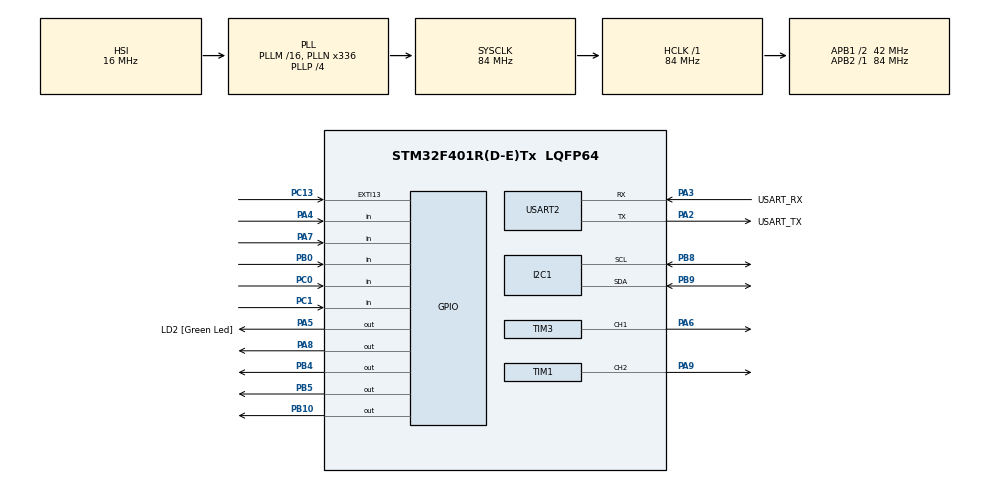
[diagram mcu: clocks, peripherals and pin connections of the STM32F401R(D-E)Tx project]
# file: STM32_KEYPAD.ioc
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Mcu.Family=STM32F4
Mcu.Name=STM32F401R(D-E)Tx
Mcu.Package=LQFP64
NVIC.PriorityGroup=NVIC_PRIORITYGROUP_4
PA13.GPIO_Label=TMS
PA13.Mode=Trace_Asynchronous_SW
PA13.Signal=SYS_JTMS-SWDIO
PA14.GPIO_Label=TCK
PA14.Mode=Trace_Asynchronous_SW
PA14.Signal=SYS_JTCK-SWCLK
PA2.GPIO_Label=USART_TX
PA2.GPIO_Mode=GPIO_MODE_AF_PP
PA2.GPIO_PuPd=GPIO_NOPULL
PA2.GPIO_Speed=GPIO_SPEED_FREQ_LOW
PA2.Mode=Asynchronous
PA2.Signal=USART2_TX
PA3.GPIO_Label=USART_RX
PA3.GPIO_Mode=GPIO_MODE_AF_PP
PA3.GPIO_PuPd=GPIO_NOPULL
PA3.GPIO_Speed=GPIO_SPEED_FREQ_LOW
PA3.Mode=Asynchronous
PA3.Signal=USART2_RX
PA4.GPIO_PuPd=GPIO_PULLUP
PA4.Signal=GPIO_Input
PA5.GPIO_Label=LD2 [Green Led]
PA5.GPIO_Mode=GPIO_MODE_OUTPUT_PP
PA5.GPIO_PuPd=GPIO_NOPULL
PA5.GPIO_Speed=GPIO_SPEED_FREQ_LOW
PA5.Signal=GPIO_Output
PA6.Signal=S_TIM3_CH1
PA7.GPIO_PuPd=GPIO_PULLUP
PA7.Signal=GPIO_Input
PA8.Signal=GPIO_Output
PA9.Signal=S_TIM1_CH2
PB0.GPIO_PuPd=GPIO_PULLUP
PB0.Signal=GPIO_Input
PB10.Signal=GPIO_Output
PB3.GPIO_Label=SWO
PB3.Mode=Trace_Asynchronous_SW
PB3.Signal=SYS_JTDO-SWO
PB4.Signal=GPIO_Output
PB5.Signal=GPIO_Output
PB8.Mode=I2C
PB8.Signal=I2C1_SCL
PB9.Mode=I2C
PB9.Signal=I2C1_SDA
PC0.GPIO_PuPd=GPIO_PULLUP
PC0.Signal=GPIO_Input
PC1.GPIO_PuPd=GPIO_PULLUP
PC1.Signal=GPIO_Input
PC13-ANTI_TAMP.Signal=GPXTI13
PC14-OSC32_IN.Mode=LSE-External-Oscillator
PC14-OSC32_IN.Signal=RCC_OSC32_IN
PC15-OSC32_OUT.Mode=LSE-External-Oscillator
PC15-OSC32_OUT.Signal=RCC_OSC32_OUT
PH0\ -\ OSC_IN.Mode=HSE-External-Clock-Source
PH0\ -\ OSC_IN.Signal=RCC_OSC_IN
PH1\ -\ OSC_OUT.Mode=HSE-External-Clock-Source
PH1\ -\ OSC_OUT.Signal=RCC_OSC_OUT
ProjectManager.HeapSize=0x200
ProjectManager.StackSize=0x400
ProjectManager.TargetToolchain=STM32CubeIDE
RCC.48MHZClocksFreq_Value=48000000
RCC.AHBFreq_Value=84000000
RCC.APB1CLKDivider=RCC_HCLK_DIV2
RCC.APB1Freq_Value=42000000
RCC.APB1TimFreq_Value=84000000
RCC.APB2Freq_Value=84000000
RCC.APB2TimFreq_Value=84000000
RCC.CortexFreq_Value=84000000
RCC.HCLKFreq_Value=84000000
RCC.HSE_VALUE=8000000
RCC.HSI_VALUE=16000000
RCC.PLLN=336
RCC.PLLP=RCC_PLLP_DIV4
RCC.PLLQ=7
RCC.SYSCLKFreq_VALUE=84000000
RCC.SYSCLKSource=RCC_SYSCLKSOURCE_PLLCLK
RCC.VCOOutputFreq_Value=336000000
SH.S_TIM1_CH2.0=TIM1_CH2,PWM Generation2 CH2
SH.S_TIM3_CH1.0=TIM3_CH1,PWM Generation1 CH1
TIM1.Channel-PWM\ Generation2\ CH2=TIM_CHANNEL_2
TIM1.Period=20000-1
TIM1.Prescaler=84-1
TIM1.Pulse-PWM\ Generation2\ CH2=1500
TIM3.Channel-PWM\ Generation1\ CH1=TIM_CHANNEL_1
TIM3.Period=500-1
TIM3.Prescaler=84-1
TIM3.Pulse-PWM\ Generation1\ CH1=250
USART2.VirtualMode=VM_ASYNC
board=NUCLEO-F401RE

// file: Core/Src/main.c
/* USER CODE BEGIN Header */
/**
  ******************************************************************************
  * @file           : main.c
  * @brief          : Main program body
  ******************************************************************************
  * @attention
  *
  * Copyright (c) 2025 STMicroelectronics.
  * All rights reserved.
  *
  * This software is licensed under terms that can be found in the LICENSE file
  * in the root directory of this software component.
  * If no LICENSE file comes with this software, it is provided AS-IS.
  *
  ******************************************************************************
  */
/* USER CODE END Header */
#include "main.h"

/* USER CODE BEGIN Includes */
#include <string.h>
#include <stdint.h>
#include "stm32f4xx_hal_tim.h"

void handle_button_press(void); //toggles PA5 and sends button press message
void send_uart_message(char *msg);
void toggle_led(void);

/* USER CODE END Includes */

/* USER CODE BEGIN PTD */

#define SH1107_ADDR 0x3C //OLED I2C Address
#define MAX_PASS_LENGTH 8

/* USER CODE END PTD */

I2C_HandleTypeDef hi2c1;

TIM_HandleTypeDef htim1;
TIM_HandleTypeDef htim3;

UART_HandleTypeDef huart2;

void SystemClock_Config(void);
static void MX_GPIO_Init(void);
static void MX_USART2_UART_Init(void);
static void MX_TIM3_Init(void);
static void MX_I2C1_Init(void);
static void MX_TIM1_Init(void);

/* USER CODE BEGIN 0 */
void toggle_led(void) { //Activate/Toggle LED
    HAL_GPIO_TogglePin(GPIOA, GPIO_PIN_5);
}

void send_uart_message(char *msg) { //Send Message through UART
    HAL_UART_Transmit(&huart2, (uint8_t *)msg, strlen(msg), HAL_MAX_DELAY);
}

void handle_button_press(void) { //Button Press actions
    toggle_led();
    HAL_Delay(200); // debounce
}

/* Buzzer PWM Functions */
void buzzer_on(void) {
	__HAL_TIM_SET_COMPARE(&htim3, TIM_CHANNEL_1, 250); //Duty Cycle - 50%
}

void buzzer_off(void) {
	__HAL_TIM_SET_COMPARE(&htim3, TIM_CHANNEL_1, 0); //Duty Cycle - 0% (off)
}

/* OLED Command Functions */
// Function to send a command to the OLED
void SH1107_Write_Command(uint8_t cmd) {
    uint8_t buffer[2] = {0x00, cmd}; // 0x00 = command
    HAL_I2C_Master_Transmit(&hi2c1, SH1107_ADDR << 1, buffer, 2, HAL_MAX_DELAY);
}

void SH1107_Write_Data(uint8_t data) {
    uint8_t buffer[2] = {0x40, data}; // 0x40 = data
    HAL_I2C_Master_Transmit(&hi2c1, SH1107_ADDR << 1, buffer, 2, HAL_MAX_DELAY);
}

void SH1107_Init(void) {
    HAL_Delay(100);

    SH1107_Write_Command(0xAE); // Display OFF
    SH1107_Write_Command(0xDC); // Set display start line
    SH1107_Write_Command(0x00);
    SH1107_Write_Command(0x81); // Set contrast control
    SH1107_Write_Command(0x2F);
    SH1107_Write_Command(0x20); // Set memory addressing mode
    SH1107_Write_Command(0xA0); // Segment remap
    SH1107_Write_Command(0xC0); // COM scan direction normal
    SH1107_Write_Command(0xA8); // Set multiplex ratio
    SH1107_Write_Command(0x7F); // 128MUX
    SH1107_Write_Command(0xD3); // Display offset
    SH1107_Write_Command(0x60); // Suggested for 128x128
    SH1107_Write_Command(0xD5); // Display clock divide
    SH1107_Write_Command(0x50);
    SH1107_Write_Command(0xD9); // Set pre-charge
    SH1107_Write_Command(0x22);
    SH1107_Write_Command(0xDB); // Set VCOMH Deselect Level
    SH1107_Write_Command(0x35);
    SH1107_Write_Command(0xAD); // Charge Pump
    SH1107_Write_Command(0x8A);
    SH1107_Write_Command(0xAF); // Display ON
}

void SH1107_Clear(void) {
    for (int page = 0; page < 8; page++) {
        SH1107_Write_Command(0xB0 + page); // Page address
        SH1107_Write_Command(0x00);        // Lower column start
        SH1107_Write_Command(0x10);        // Upper column start
        for (int col = 0; col < 128; col++) {
            SH1107_Write_Data(0x00);       // Blank
        }
    }
}

const uint8_t font5x7[][5] = {
    // SPACE (ASCII 32)
    [0] = {0x00, 0x00, 0x00, 0x00, 0x00}, // ' '
    ['!' - 32] = {0x00, 0x00, 0x5F, 0x00, 0x00}, // !
    ['"' - 32] = {0x00, 0x07, 0x00, 0x07, 0x00}, // "
    ['#' - 32] = {0x14, 0x7F, 0x14, 0x7F, 0x14}, // #
    ['$' - 32] = {0x24, 0x2A, 0x7F, 0x2A, 0x12}, // $
    ['%' - 32] = {0x23, 0x13, 0x08, 0x64, 0x62}, // %
    ['&' - 32] = {0x36, 0x49, 0x55, 0x22, 0x50}, // &
    ['\'' - 32] = {0x00, 0x05, 0x03, 0x00, 0x00}, // '
    ['(' - 32] = {0x00, 0x1C, 0x22, 0x41, 0x00}, // (
    [')' - 32] = {0x00, 0x41, 0x22, 0x1C, 0x00}, // )
    ['*' - 32] = {0x14, 0x08, 0x3E, 0x08, 0x14}, // *
    ['+' - 32] = {0x08, 0x08, 0x3E, 0x08, 0x08}, // +
    [',' - 32] = {0x00, 0x50, 0x30, 0x00, 0x00}, // ,
    ['-' - 32] = {0x08, 0x08, 0x08, 0x08, 0x08}, // -
    ['.' - 32] = {0x00, 0x60, 0x60, 0x00, 0x00}, // .
    ['/' - 32] = {0x20, 0x10, 0x08, 0x04, 0x02}, // /

    // A–Z
    ['A' - 32] = {0x7E, 0x11, 0x11, 0x11, 0x7E},
    ['B' - 32] = {0x7F, 0x49, 0x49, 0x49, 0x36},
    ['C' - 32] = {0x3E, 0x41, 0x41, 0x41, 0x22},
    ['D' - 32] = {0x7F, 0x41, 0x41, 0x22, 0x1C},
    ['E' - 32] = {0x7F, 0x49, 0x49, 0x49, 0x41},
    ['F' - 32] = {0x7F, 0x09, 0x09, 0x09, 0x01},
    ['G' - 32] = {0x3E, 0x41, 0x49, 0x49, 0x7A},
    ['H' - 32] = {0x7F, 0x08, 0x08, 0x08, 0x7F},
    ['I' - 32] = {0x00, 0x41, 0x7F, 0x41, 0x00},
    ['J' - 32] = {0x20, 0x40, 0x41, 0x3F, 0x01},
    ['K' - 32] = {0x7F, 0x08, 0x14, 0x22, 0x41},
    ['L' - 32] = {0x7F, 0x40, 0x40, 0x40, 0x40},
    ['M' - 32] = {0x7F, 0x02, 0x0C, 0x02, 0x7F},
    ['N' - 32] = {0x7F, 0x04, 0x08, 0x10, 0x7F},
    ['O' - 32] = {0x3E, 0x41, 0x41, 0x41, 0x3E},
    ['P' - 32] = {0x7F, 0x09, 0x09, 0x09, 0x06},
    ['Q' - 32] = {0x3E, 0x41, 0x51, 0x21, 0x5E},
    ['R' - 32] = {0x7F, 0x09, 0x19, 0x29, 0x46},
    ['S' - 32] = {0x46, 0x49, 0x49, 0x49, 0x31},
    ['T' - 32] = {0x01, 0x01, 0x7F, 0x01, 0x01},
    ['U' - 32] = {0x3F, 0x40, 0x40, 0x40, 0x3F},
    ['V' - 32] = {0x1F, 0x20, 0x40, 0x20, 0x1F},
    ['W' - 32] = {0x7F, 0x20, 0x18, 0x20, 0x7F},
    ['X' - 32] = {0x63, 0x14, 0x08, 0x14, 0x63},
    ['Y' - 32] = {0x07, 0x08, 0x70, 0x08, 0x07},
    ['Z' - 32] = {0x61, 0x51, 0x49, 0x45, 0x43},
};

void SH1107_Set_Cursor(uint8_t page, uint8_t col) {
    SH1107_Write_Command(0xB0 + page);             // Set page address
    SH1107_Write_Command(col & 0x0F);              // Set lower column address
    SH1107_Write_Command(0x10 | (col >> 4));       // Set higher column address
}

void SH1107_Write_Char(char c) {
    if (c < 32 || c > 126) c = ' '; // fallback to space
    const uint8_t *bitmap = font5x7[c - 32];
    for (int i = 0; i < 5; i++) {
        SH1107_Write_Data(bitmap[i]);
    }
    SH1107_Write_Data(0x00); // Space between characters
}

void SH1107_Write_String(const char* str) {
    while (*str) {
        SH1107_Write_Char(*str++);
    }
}

void SH1107_Unlock_Animation(void) {
    for (int page = 0; page < 8; page++) {  // SH1107 usually has 8 pages (each 8px tall)
        SH1107_Set_Cursor(0, page);
        for (int col = 0; col < 128; col++) {
            SH1107_Write_Data(0xFF);  // Fill this line
            HAL_Delay(1);             // Delay for visual effect
        }
    }
    HAL_Delay(500);
    SH1107_Clear();
}

uint32_t  buttonCount = 0;

/* Servo Functions*/
void servo_set_angle(uint8_t angle) {
	 if (angle > 180) angle = 180;
	 uint16_t pulse = ((angle * 1000) / 180) + 1000;  // maps 0–180° to 1000–2000
	 __HAL_TIM_SET_COMPARE(&htim1, TIM_CHANNEL_2, pulse);
}

/* Keypad Functions */

char password[MAX_PASS_LENGTH + 1] = "1234#";  // Example password
char input[MAX_PASS_LENGTH + 1] = {0};
uint8_t input_index = 0;
uint8_t failed_entry = 0;

void keypad_password() {
    GPIO_TypeDef* row_ports[4] = {GPIOA, GPIOB, GPIOB, GPIOB};
    uint16_t row_pins[4] = {GPIO_PIN_8, GPIO_PIN_10, GPIO_PIN_4, GPIO_PIN_5};

    GPIO_TypeDef* col_ports[4] = {GPIOA, GPIOB, GPIOC, GPIOC};
    uint16_t col_pins[4] = {GPIO_PIN_4, GPIO_PIN_0, GPIO_PIN_1, GPIO_PIN_0};

    const char keypad_map[4][4] = {
        {'1', '2', '3', 'A'},
        {'4', '5', '6', 'B'},
        {'7', '8', '9', 'C'},
        {'*', '0', '#', 'D'}
    };

 //   char msg[32];

    for (int r = 0; r < 4; r++) {
        // Set all rows HIGH
        for (int i = 0; i < 4; i++) {
            HAL_GPIO_WritePin(row_ports[i], row_pins[i], GPIO_PIN_SET);
        }

        // Set current row LOW
        HAL_GPIO_WritePin(row_ports[r], row_pins[r], GPIO_PIN_RESET);
        HAL_Delay(1);  // debounce

        // Check each column
        for (int c = 0; c < 4; c++) {
            if (HAL_GPIO_ReadPin(col_ports[c], col_pins[c]) == GPIO_PIN_RESET) {
                char key = keypad_map[r][c];

                // Debounce
                while (HAL_GPIO_ReadPin(col_ports[c], col_pins[c]) == GPIO_PIN_RESET);
                HAL_Delay(100);

                // Beep
                buzzer_on();
                HAL_Delay(100);
                buzzer_off();

                // Save Key
                if (input_index <MAX_PASS_LENGTH) {
                	input[input_index++] = key;
                	input[input_index] = '\0'; //Null-terminate
                }

                // OLED Display
                SH1107_Clear();
                SH1107_Set_Cursor(0,0);
                for (uint8_t i = 0; i < input_index; i++) {
                	SH1107_Write_Char('*');
                }

                // Check if full length entered
                if (input_index == strlen(password)) {
                    if (strcmp(input, password) == 0) {
                    	SH1107_Clear();
                        SH1107_Set_Cursor(0, 0);
                        SH1107_Write_String("UNLOCKED!");
                        send_uart_message("Correct password!\r\n");
                        servo_set_angle(90);  // Open
                        failed_entry = 0;
                        for(int i = 0; i < 5; i++) { // Five Beeps for successful entry
                        	buzzer_on();
                        	HAL_Delay(100);
                        	buzzer_off();
                        	HAL_Delay(100);
                        }
                    } else {
                    	SH1107_Clear();
                    	SH1107_Set_Cursor(0, 0);
                    	SH1107_Write_String("ACCESS DENIED");
                    	send_uart_message("Wrong password!\r\n");
                    	servo_set_angle(180);  // Lock
                    	failed_entry++;
                    	for(int i = 0; i < 2; i++){
                    		buzzer_on();
                    		HAL_Delay(100);
                    		buzzer_off();
                    		HAL_Delay(100);
                    	}
                    }

                    // Reset input
                    memset(input, 0, sizeof(input));
                    input_index = 0;

                    HAL_Delay(1000);
                    SH1107_Clear();
                }

                if (failed_entry >= 3) {
                	SH1107_Clear();
                	SH1107_Set_Cursor(0, 0);
                	SH1107_Write_String("LOCKED OUT");
                	send_uart_message("LOCKED OUT FOR TOO MANY FAILED ENTRIES!\r\n");
                	for(int i = 0; i < 10; i++){
                		buzzer_on();
                		HAL_Delay(300);
                		buzzer_off();
                		HAL_Delay(300);
                	}
                	failed_entry = 0;
                }

                return;
            }
        }
    }
}

/* USER CODE END 0 */

int main(void)
{

  /* MCU Configuration--------------------------------------------------------*/

  /* Reset of all peripherals, Initializes the Flash interface and the Systick. */
  HAL_Init();

  /* Configure the system clock */
  SystemClock_Config();

  /* Initialize all configured peripherals */
  MX_GPIO_Init();
  MX_USART2_UART_Init();
  MX_TIM3_Init();
  MX_I2C1_Init();
  MX_TIM1_Init();
  /* USER CODE BEGIN 2 */
  HAL_TIM_PWM_Start(&htim3, TIM_CHANNEL_1); // Start PWM TIM3_CH1
  HAL_TIM_PWM_Start(&htim1, TIM_CHANNEL_2); // Start PWM TIM1_CH2

/*  for (uint8_t addr = 0x3C; addr <= 0x3F; addr++) {
      if (HAL_I2C_IsDeviceReady(&hi2c1, addr << 1, 3, 100) == HAL_OK) {
          char buf[32];
          sprintf(buf, "I2C device found at 0x%02X\r\n", addr);
          send_uart_message(buf);
      } else {
          char buf[32];
          sprintf(buf, "No device at 0x%02X\r\n", addr);
          send_uart_message(buf);
      }
  } */

  SH1107_Init();
  SH1107_Clear();

  // Fill first page with solid pixels
/*  for (uint8_t page = 0; page < 8; page++) {
      SH1107_Write_Command(0xB0 + page); // Set page address
      SH1107_Write_Command(0x02);        // Set lower column address
      SH1107_Write_Command(0x10);        // Set higher column address

      for (uint8_t col = 0; col < 128; col++) {
          SH1107_Write_Data(0xFF);       // White pixels
      }
  }*/

  /* USER CODE END 2 */

  /* Infinite loop */
  /* USER CODE BEGIN WHILE */
  while (1)
  {

	  keypad_password();
	  	  /* Toggle LED Pin if button is pressed  */
	  if(HAL_GPIO_ReadPin(GPIOC, GPIO_PIN_13) == GPIO_PIN_RESET) {
		  handle_button_press();
		  servo_set_angle(0);    // Far left
		  SH1107_Clear();
		  SH1107_Set_Cursor(0, 0); //page 0 column 0
		  buttonCount++;
		  if(buttonCount >= 5 && buttonCount < 8) {
			  SH1107_Unlock_Animation();
			  SH1107_Set_Cursor(0, 0);
			  send_uart_message("FIVES!\r\n");
			  servo_set_angle(90);   // Center
			  for(int i = 0; i < 5; i++) {
				  buzzer_on();
				  HAL_Delay(100);
				  buzzer_off();
				  HAL_Delay(100);
				  servo_set_angle(20);
				  HAL_Delay(100);
			  }
		  } else {
			  buzzer_on();
			  HAL_Delay(100);
			  buzzer_off();
			  send_uart_message("BUTTON!\r\n");
			  servo_set_angle(180);  // Far right

		  }

	  } else {
		  HAL_GPIO_WritePin(GPIOA, GPIO_PIN_5, GPIO_PIN_RESET);
		  buzzer_off();
	  }

	  if(buttonCount >= 8) {buttonCount = 0;}

	 // check_keypad_and_beep();
	 // HAL_Delay(50);

    /* USER CODE END WHILE */

  }
}

void SystemClock_Config(void)
{
  RCC_OscInitTypeDef RCC_OscInitStruct = {0};
  RCC_ClkInitTypeDef RCC_ClkInitStruct = {0};

  /** Configure the main internal regulator output voltage
  */
  __HAL_RCC_PWR_CLK_ENABLE();
  __HAL_PWR_VOLTAGESCALING_CONFIG(PWR_REGULATOR_VOLTAGE_SCALE2);

  /** Initializes the RCC Oscillators according to the specified parameters
  * in the RCC_OscInitTypeDef structure.
  */
  RCC_OscInitStruct.OscillatorType = RCC_OSCILLATORTYPE_HSI;
  RCC_OscInitStruct.HSIState = RCC_HSI_ON;
  RCC_OscInitStruct.HSICalibrationValue = RCC_HSICALIBRATION_DEFAULT;
  RCC_OscInitStruct.PLL.PLLState = RCC_PLL_ON;
  RCC_OscInitStruct.PLL.PLLSource = RCC_PLLSOURCE_HSI;
  RCC_OscInitStruct.PLL.PLLM = 16;
  RCC_OscInitStruct.PLL.PLLN = 336;
  RCC_OscInitStruct.PLL.PLLP = RCC_PLLP_DIV4;
  RCC_OscInitStruct.PLL.PLLQ = 7;
  if (HAL_RCC_OscConfig(&RCC_OscInitStruct) != HAL_OK)
  {
    Error_Handler();
  }

  /** Initializes the CPU, AHB and APB buses clocks
  */
  RCC_ClkInitStruct.ClockType = RCC_CLOCKTYPE_HCLK|RCC_CLOCKTYPE_SYSCLK
                              |RCC_CLOCKTYPE_PCLK1|RCC_CLOCKTYPE_PCLK2;
  RCC_ClkInitStruct.SYSCLKSource = RCC_SYSCLKSOURCE_PLLCLK;
  RCC_ClkInitStruct.AHBCLKDivider = RCC_SYSCLK_DIV1;
  RCC_ClkInitStruct.APB1CLKDivider = RCC_HCLK_DIV2;
  RCC_ClkInitStruct.APB2CLKDivider = RCC_HCLK_DIV1;

  if (HAL_RCC_ClockConfig(&RCC_ClkInitStruct, FLASH_LATENCY_2) != HAL_OK)
  {
    Error_Handler();
  }
}

static void MX_I2C1_Init(void)
{

  hi2c1.Instance = I2C1;
  hi2c1.Init.ClockSpeed = 100000;
  hi2c1.Init.DutyCycle = I2C_DUTYCYCLE_2;
  hi2c1.Init.OwnAddress1 = 0;
  hi2c1.Init.AddressingMode = I2C_ADDRESSINGMODE_7BIT;
  hi2c1.Init.DualAddressMode = I2C_DUALADDRESS_DISABLE;
  hi2c1.Init.OwnAddress2 = 0;
  hi2c1.Init.GeneralCallMode = I2C_GENERALCALL_DISABLE;
  hi2c1.Init.NoStretchMode = I2C_NOSTRETCH_DISABLE;
  if (HAL_I2C_Init(&hi2c1) != HAL_OK)
  {
    Error_Handler();
  }

}

static void MX_TIM1_Init(void)
{

  TIM_MasterConfigTypeDef sMasterConfig = {0};
  TIM_OC_InitTypeDef sConfigOC = {0};
  TIM_BreakDeadTimeConfigTypeDef sBreakDeadTimeConfig = {0};

  htim1.Instance = TIM1;
  htim1.Init.Prescaler = 84-1;
  htim1.Init.CounterMode = TIM_COUNTERMODE_UP;
  htim1.Init.Period = 20000-1;
  htim1.Init.ClockDivision = TIM_CLOCKDIVISION_DIV1;
  htim1.Init.RepetitionCounter = 0;
  htim1.Init.AutoReloadPreload = TIM_AUTORELOAD_PRELOAD_DISABLE;
  if (HAL_TIM_PWM_Init(&htim1) != HAL_OK)
  {
    Error_Handler();
  }
  sMasterConfig.MasterOutputTrigger = TIM_TRGO_RESET;
  sMasterConfig.MasterSlaveMode = TIM_MASTERSLAVEMODE_DISABLE;
  if (HAL_TIMEx_MasterConfigSynchronization(&htim1, &sMasterConfig) != HAL_OK)
  {
    Error_Handler();
  }
  sConfigOC.OCMode = TIM_OCMODE_PWM1;
  sConfigOC.Pulse = 1500;
  sConfigOC.OCPolarity = TIM_OCPOLARITY_HIGH;
  sConfigOC.OCNPolarity = TIM_OCNPOLARITY_HIGH;
  sConfigOC.OCFastMode = TIM_OCFAST_DISABLE;
  sConfigOC.OCIdleState = TIM_OCIDLESTATE_RESET;
  sConfigOC.OCNIdleState = TIM_OCNIDLESTATE_RESET;
  if (HAL_TIM_PWM_ConfigChannel(&htim1, &sConfigOC, TIM_CHANNEL_2) != HAL_OK)
  {
    Error_Handler();
  }
  sBreakDeadTimeConfig.OffStateRunMode = TIM_OSSR_DISABLE;
  sBreakDeadTimeConfig.OffStateIDLEMode = TIM_OSSI_DISABLE;
  sBreakDeadTimeConfig.LockLevel = TIM_LOCKLEVEL_OFF;
  sBreakDeadTimeConfig.DeadTime = 0;
  sBreakDeadTimeConfig.BreakState = TIM_BREAK_DISABLE;
  sBreakDeadTimeConfig.BreakPolarity = TIM_BREAKPOLARITY_HIGH;
  sBreakDeadTimeConfig.AutomaticOutput = TIM_AUTOMATICOUTPUT_DISABLE;
  if (HAL_TIMEx_ConfigBreakDeadTime(&htim1, &sBreakDeadTimeConfig) != HAL_OK)
  {
    Error_Handler();
  }
  HAL_TIM_MspPostInit(&htim1);

}

static void MX_TIM3_Init(void)
{

  TIM_MasterConfigTypeDef sMasterConfig = {0};
  TIM_OC_InitTypeDef sConfigOC = {0};

  htim3.Instance = TIM3;
  htim3.Init.Prescaler = 84-1;
  htim3.Init.CounterMode = TIM_COUNTERMODE_UP;
  htim3.Init.Period = 500-1;
  htim3.Init.ClockDivision = TIM_CLOCKDIVISION_DIV1;
  htim3.Init.AutoReloadPreload = TIM_AUTORELOAD_PRELOAD_DISABLE;
  if (HAL_TIM_PWM_Init(&htim3) != HAL_OK)
  {
    Error_Handler();
  }
  sMasterConfig.MasterOutputTrigger = TIM_TRGO_RESET;
  sMasterConfig.MasterSlaveMode = TIM_MASTERSLAVEMODE_DISABLE;
  if (HAL_TIMEx_MasterConfigSynchronization(&htim3, &sMasterConfig) != HAL_OK)
  {
    Error_Handler();
  }
  sConfigOC.OCMode = TIM_OCMODE_PWM1;
  sConfigOC.Pulse = 250;
  sConfigOC.OCPolarity = TIM_OCPOLARITY_HIGH;
  sConfigOC.OCFastMode = TIM_OCFAST_DISABLE;
  if (HAL_TIM_PWM_ConfigChannel(&htim3, &sConfigOC, TIM_CHANNEL_1) != HAL_OK)
  {
    Error_Handler();
  }
  HAL_TIM_MspPostInit(&htim3);

}

static void MX_USART2_UART_Init(void)
{

  huart2.Instance = USART2;
  huart2.Init.BaudRate = 115200;
  huart2.Init.WordLength = UART_WORDLENGTH_8B;
  huart2.Init.StopBits = UART_STOPBITS_1;
  huart2.Init.Parity = UART_PARITY_NONE;
  huart2.Init.Mode = UART_MODE_TX_RX;
  huart2.Init.HwFlowCtl = UART_HWCONTROL_NONE;
  huart2.Init.OverSampling = UART_OVERSAMPLING_16;
  if (HAL_UART_Init(&huart2) != HAL_OK)
  {
    Error_Handler();
  }

}

static void MX_GPIO_Init(void)
{
  GPIO_InitTypeDef GPIO_InitStruct = {0};

  /* GPIO Ports Clock Enable */
  __HAL_RCC_GPIOC_CLK_ENABLE();
  __HAL_RCC_GPIOH_CLK_ENABLE();
  __HAL_RCC_GPIOA_CLK_ENABLE();
  __HAL_RCC_GPIOB_CLK_ENABLE();

  /*Configure GPIO pin Output Level */
  HAL_GPIO_WritePin(GPIOA, LD2_Pin|GPIO_PIN_8, GPIO_PIN_RESET);

  /*Configure GPIO pin Output Level */
  HAL_GPIO_WritePin(GPIOB, GPIO_PIN_10|GPIO_PIN_4|GPIO_PIN_5, GPIO_PIN_RESET);

  /*Configure GPIO pin : PC13 */
  GPIO_InitStruct.Pin = GPIO_PIN_13;
  GPIO_InitStruct.Mode = GPIO_MODE_IT_RISING;
  GPIO_InitStruct.Pull = GPIO_NOPULL;
  HAL_GPIO_Init(GPIOC, &GPIO_InitStruct);

  /*Configure GPIO pins : PC0 PC1 */
  GPIO_InitStruct.Pin = GPIO_PIN_0|GPIO_PIN_1;
  GPIO_InitStruct.Mode = GPIO_MODE_INPUT;
  GPIO_InitStruct.Pull = GPIO_PULLUP;
  HAL_GPIO_Init(GPIOC, &GPIO_InitStruct);

  /*Configure GPIO pins : PA4 PA7 */
  GPIO_InitStruct.Pin = GPIO_PIN_4|GPIO_PIN_7;
  GPIO_InitStruct.Mode = GPIO_MODE_INPUT;
  GPIO_InitStruct.Pull = GPIO_PULLUP;
  HAL_GPIO_Init(GPIOA, &GPIO_InitStruct);

  /*Configure GPIO pins : LD2_Pin PA8 */
  GPIO_InitStruct.Pin = LD2_Pin|GPIO_PIN_8;
  GPIO_InitStruct.Mode = GPIO_MODE_OUTPUT_PP;
  GPIO_InitStruct.Pull = GPIO_NOPULL;
  GPIO_InitStruct.Speed = GPIO_SPEED_FREQ_LOW;
  HAL_GPIO_Init(GPIOA, &GPIO_InitStruct);

  /*Configure GPIO pin : PB0 */
  GPIO_InitStruct.Pin = GPIO_PIN_0;
  GPIO_InitStruct.Mode = GPIO_MODE_INPUT;
  GPIO_InitStruct.Pull = GPIO_PULLUP;
  HAL_GPIO_Init(GPIOB, &GPIO_InitStruct);

  /*Configure GPIO pins : PB10 PB4 PB5 */
  GPIO_InitStruct.Pin = GPIO_PIN_10|GPIO_PIN_4|GPIO_PIN_5;
  GPIO_InitStruct.Mode = GPIO_MODE_OUTPUT_PP;
  GPIO_InitStruct.Pull = GPIO_NOPULL;
  GPIO_InitStruct.Speed = GPIO_SPEED_FREQ_LOW;
  HAL_GPIO_Init(GPIOB, &GPIO_InitStruct);

}

void Error_Handler(void)
{
  __disable_irq();
  while (1)
  {
  }
}
